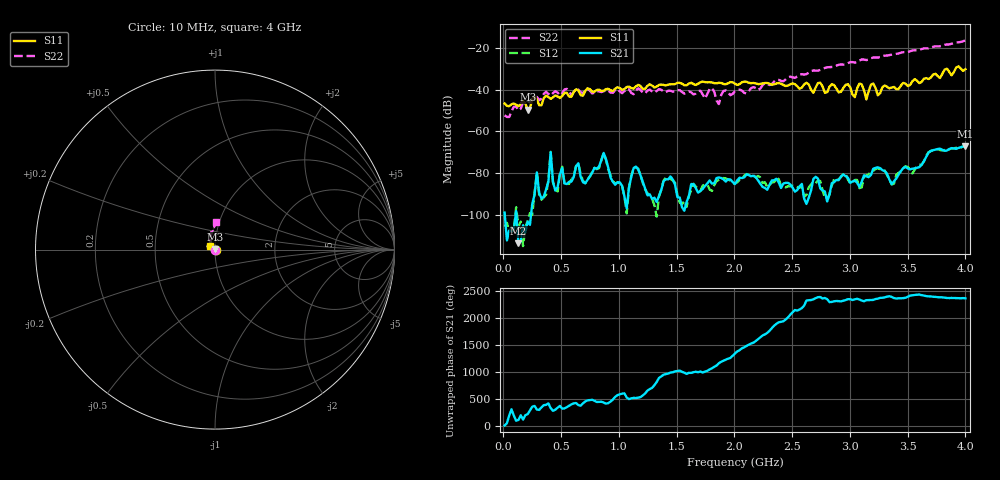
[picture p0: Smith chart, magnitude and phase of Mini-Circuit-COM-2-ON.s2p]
! 9/28/2016 3:32:32 PM
! C:\USERS\ANRITSUUSER\DESKTOP\SWITCHES\MINI-CIRCUIT-COM-2-ON.S2P
! CHANNEL.1
! TR.MEASUREMENT
! CORRECTED.DATA
# GHZ S RI R 50.0
! FREQ.GHZ  S11RE  S11IM  S21RE  S21IM  S12RE  S12IM  S22RE  S22IM
!; PortSelection: Port_12
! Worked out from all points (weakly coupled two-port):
!   201 points, 10 MHz to 4 GHz, reference 50 ohm
!   highest |S21| = -67.17 dB at 4 GHz (marker M1); lowest = -113.7 dB at 129.7 MHz (marker M2)
!   lowest |S11| = -49.5 dB at 209.5 MHz (marker M3), VSWR 1.01, Z = 50.3 + j0.189 ohm
!   |S11| at or under -10 dB: start of sweep to end of sweep
!   |S22| runs from -53.0 to -16.2 dB; largest |S21 - S12| = 3.1e-05
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0.01  0.00468 0.000421  1.12e-05 4e-07  -4.8e-06 1.8e-06  0.00245 7.6e-05
0.1297  0.00388 0.00114  -5e-07 2e-06  -5.1e-06 -8e-07  0.00194 0.00257
0.2095  0.00277 0.00188  -5.7e-06 -3.6e-06  -7.2e-06 1e-07  0.0034 0.00415
0.38905  0.0053 0.00409  3.69e-05 4.81e-05  4.95e-05 4.55e-05  0.00533 0.00592
0.409  0.00476 0.00381  0.000262 -0.00018  0.000271 -0.000178  0.00516 0.00517
0.42895  0.00569 0.00339  5e-06 -6.15e-05  1.01e-05 -5.89e-05  0.00676 0.00489
0.6883  0.00546 0.00476  3.65e-05 4.81e-05  3.95e-05 5.19e-05  0.00643 0.00533
0.82795  0.00547 0.00846  1.96e-05 0.000143  1.63e-05 0.000131  0.00679 0.00623
0.86785  0.00549 0.00774  0.000109 0.000286  0.000109 0.00028  0.00728 0.00571
0.9277  0.00459 0.00869  2.3e-06 7.78e-05  2.6e-06 8.94e-05  0.00583 0.00633
1.34665  0.00714 0.0111  -2.72e-05 6.1e-06  -2.59e-05 9.7e-06  0.00697 0.00776
1.74565  0.00647 0.0139  1.43e-05 -4.7e-05  2.37e-05 -4.69e-05  0.00155 0.00598
1.8055  0.00558 0.0139  5.46e-05 -1.19e-05  3.18e-05 -1.94e-05  -0.000274 0.0112
1.86535  0.00572 0.0136  1.07e-05 7.76e-05  9.7e-06 6.83e-05  0.00135 0.00435
2.005  0.00479 0.0133  -5.3e-06 -5.41e-05  -1.02e-05 -5.65e-05  -0.00174 0.00918
2.6833  0.00305 0.00795  -7.08e-05 -1.41e-05  -5.11e-05 -3.28e-05  -0.0189 0.0222
3.0424  0.00114 0.00659  -6.42e-05 -1.49e-05  -6.6e-05 -1.71e-05  -0.0254 0.0373
3.0823  0.000371 0.0142  -4.59e-05 -7.5e-06  -4.13e-05 -1.35e-05  -0.024 0.0445
3.14215  -0.00163 0.00565  -8.32e-05 5.7e-06  -8.68e-05 1.34e-05  -0.0266 0.0447
3.202  -0.00619 0.0129  -0.000127 -3.7e-06  -0.000112 -1.27e-05  -0.0276 0.0533
3.34165  -0.00675 0.00852  -2.35e-05 -6.58e-05  -3.26e-05 -6.4e-05  -0.0269 0.063
4  -0.0259 0.018  -0.000377 -0.000224  -0.000382 -0.000249  0.00781 0.1541
